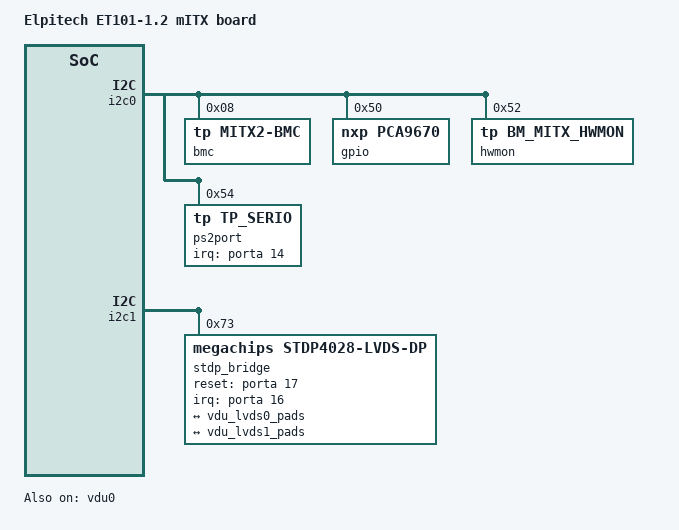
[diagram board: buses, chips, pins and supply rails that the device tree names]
// SPDX-License-Identifier: GPL-2.0
/*
 * Elpitech ET101-1.2 Mini-ITX board device tree
 */

/dts-v1/;

#include "bm-et101.dtsi"

/ {
	model = "Elpitech ET101-1.2 mITX board";
};

&vdu0 {
	status = "okay";
	num-lanes = <2>;
	port {
		#address-cells = <1>;
		#size-cells = <0>;
		vdu_lvds0_pads: endpoint@0 {
			reg = <0>;
			remote-endpoint = <&stdp_lvds_in0>;
		};
		vdu_lvds1_pads: endpoint@1 {
			reg = <1>;
			remote-endpoint = <&stdp_lvds_in1>;
		};
	};
};

&i2c0 {
	status = "okay";

	bmc@8 {
		compatible = "tp,mitx2-bmc", "t-platforms,mitx2-bmc";
		reg = <0x08>;
	};

	gpio@50 {
		compatible = "nxp,pca9670";
		#gpio-cells = <2>;
		gpio-controller;
		reg = <0x50>;
	};

	hwmon@52 {
		compatible = "tp,bm_mitx_hwmon";
		reg = <0x52>;
	};

	ps2port@54 {
		compatible = "tp,tp_serio";
		reg = <0x54>;
		interrupt-parent = <&porta>;
		interrupts = <14 8>;
	};
};

&i2c1 {
	status = "okay";

	stdp_bridge@73 {
		compatible = "megachips,stdp4028-lvds-dp";
		reg = <0x73>;
		channels = <2>;
		chan-cfg = <3>;
		interrupt-parent = <&porta>;
		interrupts = <16 IRQ_TYPE_LEVEL_HIGH>;
		reset-gpios = <&porta 17 GPIO_ACTIVE_HIGH>;

		port {
			#address-cells = <1>;
			#size-cells = <0>;

			stdp_lvds_in0: endpoint@0 {
				reg = <0>;
				remote-endpoint = <&vdu_lvds0_pads>;
			};
			stdp_lvds_in1: endpoint@1 {
				reg = <1>;
				remote-endpoint = <&vdu_lvds1_pads>;
			};
		};
	};
};
